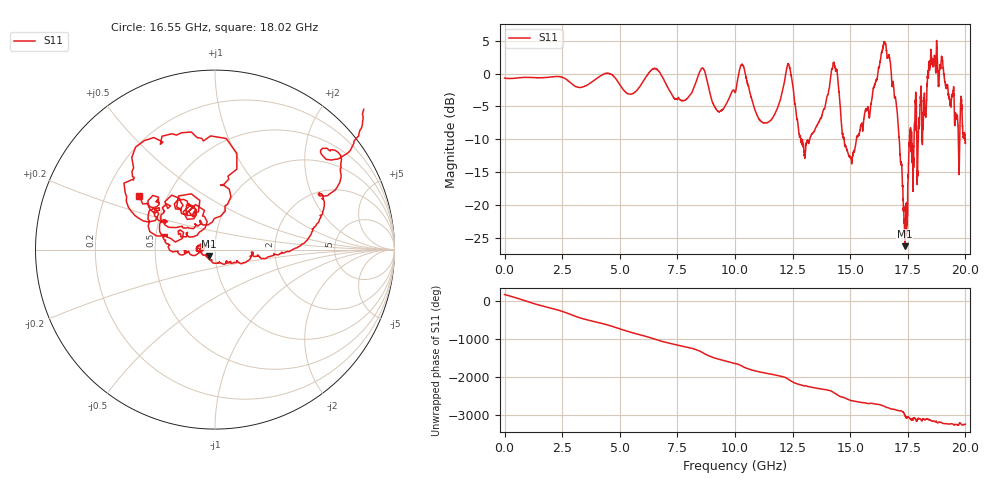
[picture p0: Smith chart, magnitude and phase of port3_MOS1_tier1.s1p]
! Created with skrf 1.8.0 (http://scikit-rf.org).
# GHz S RI R 50.0
!freq ReS11 ImS11
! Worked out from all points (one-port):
!   10001 points, 1 MHz to 20 GHz, reference 50 ohm
!   lowest |S11| = -26.3 dB at 17.38 GHz (marker M1), VSWR 1.10, Z = 46.7 - j3.34 ohm
!   |S11| at or under -10 dB: 12.89 GHz to 13.24 GHz (354.8 MHz wide, 2.72 % of centre); 14.74 GHz to 15.26 GHz (527.8 MHz wide, 3.52 % of centre); 17.13 GHz to 17.57 GHz (443.6 MHz wide, 2.56 % of centre) (the widest 3 of 17)
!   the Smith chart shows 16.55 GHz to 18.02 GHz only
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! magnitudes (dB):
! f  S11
! 1 MHz  -0.7
! 2.501 GHz  -0.5
! 5.001 GHz  -1.7
! 6.553 GHz  0.8
! 7.501 GHz  -3.9
! 8.577 GHz  0.9
! 9.253 GHz  -5.7
! 10 GHz  -2.9
! 10.33 GHz  1.3
! 11.32 GHz  -7.5
! 12.29 GHz  1.4
! 12.5 GHz  -1.6
! 13.04 GHz  -12.4
! 14.34 GHz  0.9
! 14.7 GHz  -9.9
! 15 GHz  -12.6
! 15.87 GHz  -5.4
! 16.5 GHz  4.8
! 16.98 GHz  -3.9
! 17.38 GHz  -26.3
! 17.5 GHz  -16.8
! 17.61 GHz  -8.5
! 18.21 GHz  -3.7
! 18.57 GHz  1.9
! 18.99 GHz  2.3
! 19.66 GHz  -6.7
! 19.86 GHz  -6.7
! 20 GHz  -10.4
